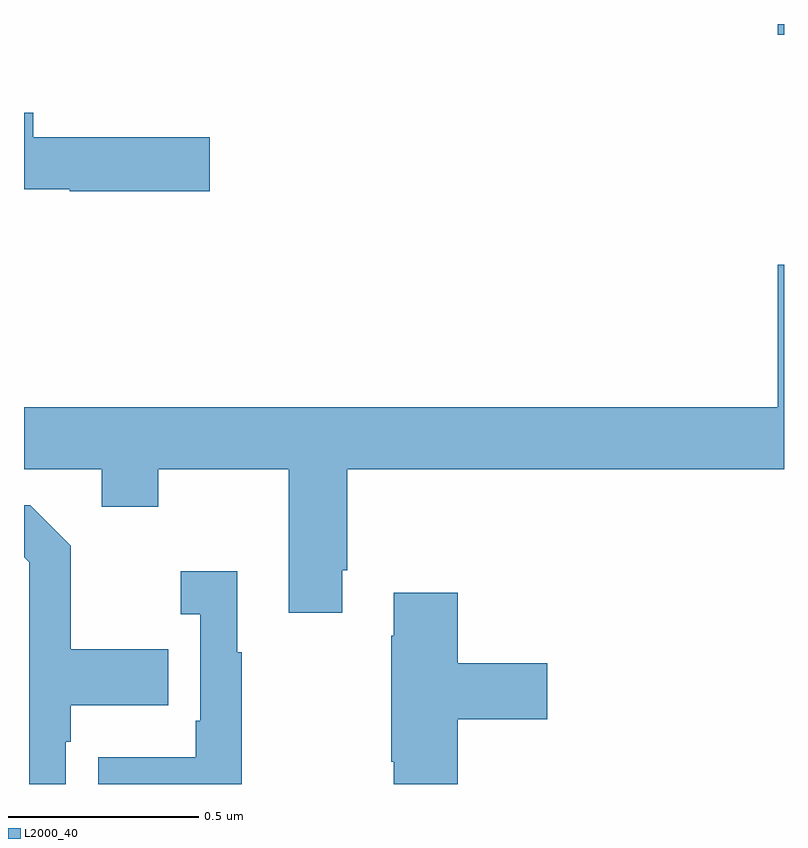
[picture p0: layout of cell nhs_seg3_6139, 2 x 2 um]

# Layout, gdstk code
import gdstk
lib = gdstk.Library(unit=1e-6, precision=1e-09)
def R(c, l, rs):  # rectangles x0, y0, x1, y1
    for r in rs: c.add(gdstk.rectangle(r[:2], r[2:], *l))
def P(c, l, *ps):  # polygons
    for p in ps: c.add(gdstk.Polygon(p, *l))
L2000_40 = (2000, 40)

nhs_seg3_6139 = lib.new_cell('nhs_seg3_6139')
R(nhs_seg3_6139, L2000_40, [(188.984,723.372,189,723.4)])
P(nhs_seg3_6139, L2000_40, [(187.489,723.102),(187.024,723.102),(187.024,723.166),(187,723.166),(187,722.965),(187.12,722.965),(187.12,722.96),(187.489,722.96)],
  [(187.837,721.963),(187.85,721.963),(187.85,722.228),(189,722.228),(189,722.767),(188.984,722.767),(188.984,722.392),(187,722.392),(187,722.228),(187.205,722.228),(187.205,722.129),(187.353,722.129),(187.353,722.228),(187.697,722.228),(187.697,721.851),(187.837,721.851)],
  [(187.11,721.511),(187.123,721.511),(187.123,721.607),(187.379,721.607),(187.379,721.755),(187.123,721.755),(187.123,722.027),(187.017,722.133),(187,722.133),(187,721.997),(187.014,721.983),(187.014,721.4),(187.11,721.4)],
  [(187.573,721.747),(187.561,721.747),(187.561,721.96),(187.413,721.96),(187.413,721.847),(187.464,721.847),(187.464,721.567),(187.452,721.567),(187.452,721.471),(187.195,721.471),(187.195,721.4),(187.573,721.4)],
  [(188.141,721.571),(188.377,721.571),(188.377,721.718),(188.141,721.718),(188.141,721.903),(187.973,721.903),(187.973,721.79),(187.966,721.79),(187.966,721.459),(187.973,721.459),(187.973,721.4),(188.141,721.4)])

lib.write_gds('nhs_seg3_6139.gds')
